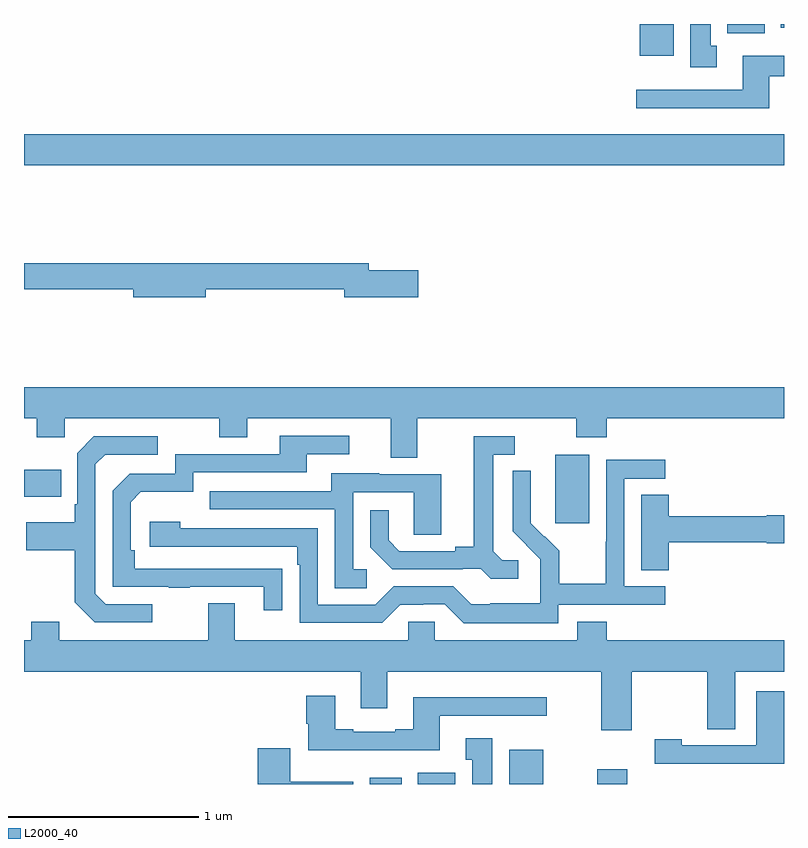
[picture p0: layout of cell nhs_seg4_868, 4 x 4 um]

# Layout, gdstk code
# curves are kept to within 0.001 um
import gdstk
lib = gdstk.Library(unit=1e-6, precision=1e-09)
def R(c, l, rs):  # rectangles x0, y0, x1, y1
    for r in rs: c.add(gdstk.rectangle(r[:2], r[2:], *l))
def P(c, l, *ps):  # polygons
    for p in ps: c.add(gdstk.Polygon(p, *l))
L2000_40 = (2000, 40)

nhs_seg4_868 = lib.new_cell('nhs_seg4_868')
R(nhs_seg4_868, L2000_40, [(156.821,790.9,156.988,790.933), (157.073,790.9,157.27,790.96), (157.553,790.9,157.732,791.08), (158.018,790.9,158.176,790.978), (157.796,792.273,157.975,792.634), (155,792.413,155.195,792.553), (155,794.156,159,794.32), (158.24,794.732,158.419,794.9), (158.702,794.852,158.899,794.9), (158.984,794.88,159,794.9)])
P(nhs_seg4_868, L2000_40, [(158.647,794.786),(158.614,794.786),(158.614,794.9),(158.507,794.9),(158.507,794.673),(158.647,794.673)],
  [(158.923,794.625),(159,794.625),(159,794.734),(158.783,794.734),(158.783,794.553),(158.223,794.553),(158.223,794.456),(158.923,794.456)],
  [(155.956,793.504),(156.686,793.504),(156.686,793.462),(157.075,793.462),(157.075,793.604),(156.814,793.604),(156.814,793.64),(155,793.64),(155,793.504),(155.576,793.504),(155.576,793.462),(155.956,793.462)],
  [(157.069,792.824),(157.906,792.824),(157.906,792.725),(158.066,792.725),(158.066,792.824),(159,792.824),(159,792.988),(155,792.988),(155,792.824),(155.068,792.824),(155.068,792.725),(155.214,792.725),(155.214,792.824),(156.028,792.824),(156.028,792.725),(156.175,792.725),(156.175,792.824),(156.929,792.824),(156.929,792.616),(157.069,792.616)],
  [(156.359,792.032),(155.582,792.033),(155.582,792.13),(155.562,792.13),(155.562,792.384),(155.615,792.437),(155.892,792.437),(155.892,792.54),(156.487,792.54),(156.487,792.636),(156.712,792.636),(156.712,792.732),(156.347,792.732),(156.347,792.636),(155.796,792.636),(155.796,792.534),(155.556,792.534),(155.466,792.444),(155.466,791.937),(155.761,791.937),(155.761,791.932),(155.873,791.932),(155.873,791.937),(156.263,791.937),(156.263,791.814),(156.359,791.814)],
  [(155.674,791.847),(155.43,791.847),(155.376,791.901),(155.376,792.582),(155.427,792.633),(155.704,792.633),(155.704,792.729),(155.367,792.729),(155.28,792.642),(155.28,792.373),(155.268,792.373),(155.268,792.277),(155.011,792.277),(155.011,792.13),(155.268,792.13),(155.268,791.857),(155.373,791.751),(155.674,791.751)],
  [(157.6,792.078),(157.518,792.078),(157.471,792.125),(157.471,792.633),(157.582,792.633),(157.582,792.729),(157.367,792.729),(157.367,792.149),(157.271,792.149),(157.271,792.126),(156.976,792.126),(156.919,792.183),(156.919,792.34),(156.822,792.34),(156.822,792.146),(156.938,792.03),(157.31,792.03),(157.31,792.033),(157.404,792.033),(157.456,791.981),(157.6,791.981)],
  [(157.812,791.844),(158.374,791.844),(158.374,791.94),(158.16,791.94),(158.16,792.507),(158.374,792.507),(158.374,792.606),(158.064,792.606),(158.064,792.176),(158.062,792.176),(158.062,791.953),(157.817,791.953),(157.817,792.127),(157.74,792.204),(157.737,792.201),(157.667,792.272),(157.668,792.548),(157.572,792.548),(157.572,792.23),(157.718,792.082),(157.718,791.985),(157.716,791.985),(157.716,791.851),(157.453,791.851),(157.453,791.847),(157.353,791.847),(157.26,791.94),(156.945,791.94),(156.849,791.844),(156.546,791.844),(156.546,792.246),(155.822,792.246),(155.822,792.28),(155.661,792.28),(155.661,792.15),(156.437,792.15),(156.437,792.053),(156.45,792.053),(156.45,791.748),(156.885,791.748),(156.981,791.844),(157.1,791.844),(157.1,791.847),(157.215,791.847),(157.315,791.747),(157.812,791.747)],
  [(156.805,792.03),(156.732,792.03),(156.732,792.435),(157.05,792.435),(157.05,792.211),(157.195,792.211),(157.195,792.531),(156.871,792.531),(156.871,792.535),(156.617,792.535),(156.617,792.441),(155.977,792.441),(155.977,792.345),(156.636,792.345),(156.636,791.929),(156.805,791.929)],
  [(158.393,792.172),(158.91,792.172),(158.91,792.167),(159,792.167),(159,792.314),(158.91,792.314),(158.91,792.308),(158.393,792.308),(158.393,792.422),(158.249,792.422),(158.249,792.025),(158.393,792.025)],
  [(158.199,791.492),(158.596,791.492),(158.596,791.188),(158.743,791.188),(158.743,791.492),(159,791.492),(159,791.656),(158.066,791.656),(158.066,791.755),(157.913,791.755),(157.913,791.656),(157.161,791.656),(157.161,791.754),(157.023,791.754),(157.023,791.656),(156.109,791.656),(156.109,791.851),(155.969,791.851),(155.969,791.656),(155.185,791.656),(155.185,791.755),(155.038,791.755),(155.038,791.656),(155,791.656),(155,791.492),(156.773,791.492),(156.773,791.298),(156.913,791.298),(156.913,791.492),(158.039,791.492),(158.039,791.184),(158.199,791.184)],
  [(159,791.389),(158.855,791.389),(158.855,791.103),(158.463,791.103),(158.463,791.136),(158.319,791.136),(158.319,791.007),(159,791.007)],
  [(157.189,791.259),(157.75,791.259),(157.75,791.356),(157.049,791.356),(157.049,791.188),(156.953,791.188),(156.953,791.175),(156.733,791.175),(156.733,791.188),(156.637,791.188),(156.637,791.365),(156.485,791.365),(156.485,791.217),(156.497,791.217),(156.497,791.078),(157.189,791.078)],
  [(157.465,791.14),(157.325,791.14),(157.325,791.027),(157.358,791.027),(157.358,790.9),(157.465,790.9)],
  [(156.733,790.912),(156.4,790.912),(156.4,791.089),(156.23,791.089),(156.23,790.9),(156.733,790.9)])

lib.write_gds('nhs_seg4_868.gds')
